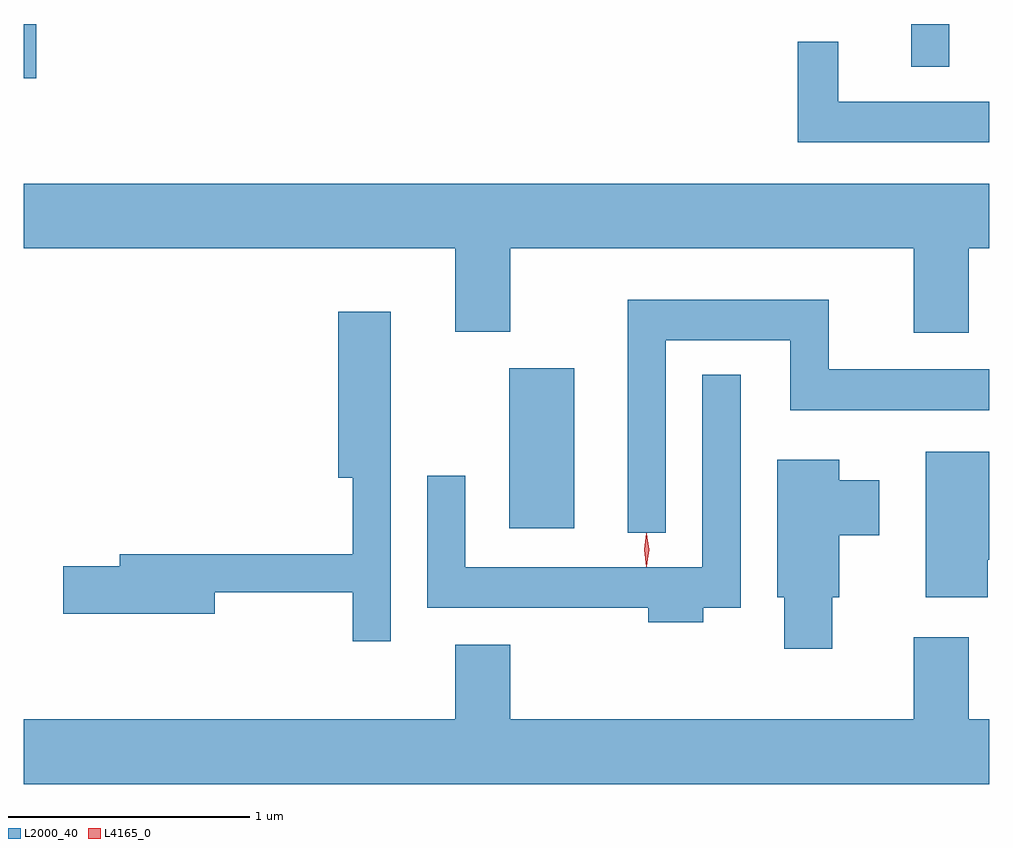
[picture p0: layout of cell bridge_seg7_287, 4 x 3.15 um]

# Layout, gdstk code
import gdstk
lib = gdstk.Library(unit=1e-6, precision=1e-09)
def R(c, l, rs):  # rectangles x0, y0, x1, y1
    for r in rs: c.add(gdstk.rectangle(r[:2], r[2:], *l))
def P(c, l, *ps):  # polygons
    for p in ps: c.add(gdstk.Polygon(p, *l))
L2000_40 = (2000, 40)
L4165_0 = (4165, 0)

bridge_seg7_287 = lib.new_cell('bridge_seg7_287')
R(bridge_seg7_287, L2000_40, [(1341.176,1788.636,1341.444,1789.299), (1339.164,1790.501,1339.214,1790.726), (1342.841,1790.548,1342.999,1790.726)])
P(bridge_seg7_287, L2000_40, [(1343.164,1790.404),(1342.539,1790.404),(1342.539,1790.653),(1342.371,1790.653),(1342.371,1790.236),(1343.164,1790.236)],
  [(1343.079,1789.796),(1343.164,1789.796),(1343.164,1790.064),(1339.164,1790.064),(1339.164,1789.796),(1340.951,1789.796),(1340.951,1789.451),(1341.179,1789.451),(1341.179,1789.796),(1342.851,1789.796),(1342.851,1789.446),(1343.079,1789.446)],
  [(1341.824,1789.416),(1342.341,1789.416),(1342.341,1789.126),(1343.164,1789.126),(1343.164,1789.294),(1342.499,1789.294),(1342.499,1789.584),(1341.666,1789.584),(1341.666,1788.618),(1341.824,1788.618)],
  [(1340.684,1789.534),(1340.466,1789.534),(1340.466,1788.846),(1340.526,1788.846),(1340.526,1788.529),(1339.561,1788.529),(1339.561,1788.479),(1339.326,1788.479),(1339.326,1788.281),(1339.954,1788.281),(1339.954,1788.371),(1340.526,1788.371),(1340.526,1788.168),(1340.684,1788.168)],
  [(1341.979,1788.306),(1342.134,1788.306),(1342.134,1789.273),(1341.976,1789.273),(1341.976,1788.474),(1340.994,1788.474),(1340.994,1788.853),(1340.836,1788.853),(1340.836,1788.306),(1341.751,1788.306),(1341.751,1788.246),(1341.979,1788.246)],
  [(1343.159,1788.506),(1343.164,1788.506),(1343.164,1788.954),(1342.901,1788.954),(1342.901,1788.351),(1343.159,1788.351)],
  [(1342.514,1788.351),(1342.544,1788.351),(1342.544,1788.606),(1342.709,1788.606),(1342.709,1788.834),(1342.544,1788.834),(1342.544,1788.919),(1342.286,1788.919),(1342.286,1788.351),(1342.316,1788.351),(1342.316,1788.136),(1342.514,1788.136)],
  [(1343.164,1787.844),(1343.079,1787.844),(1343.079,1788.184),(1342.851,1788.184),(1342.851,1787.844),(1341.179,1787.844),(1341.179,1788.154),(1340.951,1788.154),(1340.951,1787.844),(1339.164,1787.844),(1339.164,1787.576),(1343.164,1787.576)])
P(bridge_seg7_287, L4165_0, [(1341.745,1788.479),(1341.744,1788.48),(1341.735,1788.546),(1341.744,1788.612),(1341.745,1788.613),(1341.745,1788.612),(1341.755,1788.546),(1341.745,1788.48)],
  [(1341.744,1788.477),(1341.744,1788.477),(1341.734,1788.546),(1341.744,1788.616),(1341.744,1788.616),(1341.745,1788.616),(1341.754,1788.546),(1341.745,1788.477)])

lib.write_gds('bridge_seg7_287.gds')
